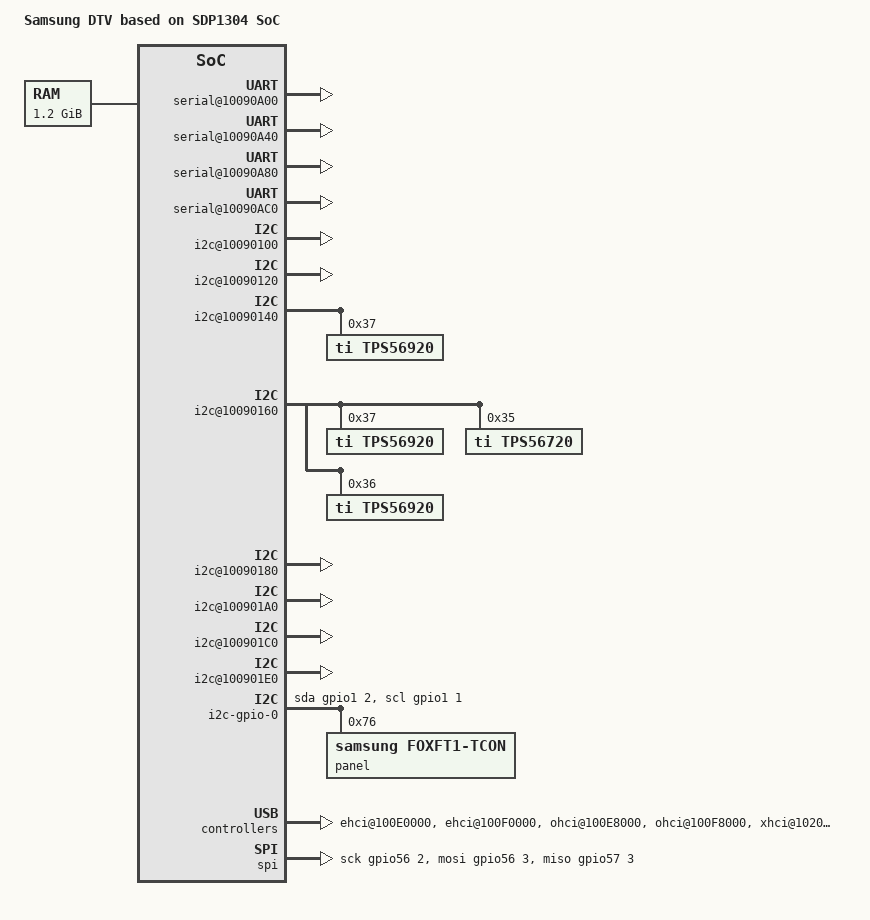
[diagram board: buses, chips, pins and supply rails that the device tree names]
/*
 * Copyright (C) 2013 Samsung Electronics Co.Ltd
 *
 * This program is free software; you can redistribute it and/or modify
 * it under the terms of the GNU General Public License version 2 as
 * published by the Free Software Foundation.
 */

/dts-v1/;
/include/ "sdp1304.dtsi"

/ {
	model = "Samsung DTV based on SDP1304 SoC";
	compatible = "samsung,dtv", "samsung,sdp1304", "samsung,golf-us";

	memory {
		reg =  <0xB3000000 0x4D000000>;
	};

	chosen {
		bootargs = "console=ttyS0,115200N8 root=/dev/mmcblk0p7 rootfstype=squashfs rootwait earlyprintk no_console_suspend SELP_ENABLE=20102011 vmalloc=600M sdp_sparsemem";
	};

	fixed-rate-clocks {
		fin {
			compatible = "samsung,sdp-clock-fin";
			clock-frequency = <24000000>;
		};
	};

	/* for dma330 */
	golf-us {
		status = "okay";
		amba {
			dma330@1C660000 {
				status = "okay";
			};
		};
	};

	ethernet@100D0000 {
		phy_sel_reg = <0x10088000 0x1 0x0>;		/* select RGMII for eval board*/
	};

	mmc {
        tuning_sam =    <0x10B0092C 0x000007FF 0x00000100>, <0x10B00930 0x000001E0 0x00000000>,
                        <0x10B0092C 0x000007FF 0x00000100>, <0x10B00930 0x000001E0 0x000001E0>,
                        <0x10B0092C 0x000007FF 0x00000101>, <0x10B00930 0x000001E0 0x00000000>,
                        <0x10B0092C 0x000007FF 0x00000101>, <0x10B00930 0x000001E0 0x000001E0>,
                        <0x10B0092C 0x000007FF 0x00000102>, <0x10B00930 0x000001E0 0x00000000>,
                        <0x10B0092C 0x000007FF 0x00000102>, <0x10B00930 0x000001E0 0x000001E0>,
                        <0x10B0092C 0x000007FF 0x00000103>, <0x10B00930 0x000001E0 0x00000000>,
                        <0x10B0092C 0x000007FF 0x00000103>, <0x10B00930 0x000001E0 0x000001E0>,
                        <0x10B0092C 0x000007FF 0x00000200>, <0x10B00930 0x000001E0 0x00000000>,
                        <0x10B0092C 0x000007FF 0x00000200>, <0x10B00930 0x000001E0 0x000001E0>,
                        <0x10B0092C 0x000007FF 0x00000204>, <0x10B00930 0x000001E0 0x00000000>,
                        <0x10B0092C 0x000007FF 0x00000204>, <0x10B00930 0x000001E0 0x000001E0>,
                        <0x10B0092C 0x000007FF 0x00000208>, <0x10B00930 0x000001E0 0x00000000>,
                        <0x10B0092C 0x000007FF 0x00000208>, <0x10B00930 0x000001E0 0x000001E0>,
                        <0x10B0092C 0x000007FF 0x0000020C>, <0x10B00930 0x000001E0 0x00000000>,
                        <0x10B0092C 0x000007FF 0x0000020C>, <0x10B00930 0x000001E0 0x000001E0>,
                        <0x10B0092C 0x000007FF 0x00000300>, <0x10B00930 0x000001E0 0x00000000>,
                        <0x10B0092C 0x000007FF 0x00000300>, <0x10B00930 0x000001E0 0x000001E0>,
                        <0x10B0092C 0x000007FF 0x00000310>, <0x10B00930 0x000001E0 0x00000000>,
                        <0x10B0092C 0x000007FF 0x00000310>, <0x10B00930 0x000001E0 0x000001E0>;

        tuning_sam_hs200_default = <0x10B0092C 0x000007FF 0x00000100>, <0x10B00930 0x000001E0 0x00000000>;/* HS200 sampling defalut */
        tuning_drv_hs200_default = <0x10B0092C 0x07FF0000 0x01010000>, <0x10B00930 0x0000000F 0x0000000F>;/* HS200 driving defalut */

		fixup-golfp-ud-tuning-fixed;

		hs200;/* enable HS200 */
		hs200-tuning;
	};

	serial@10090A00 {
		status = "okay";
	};

	serial@10090A40 {
		status = "okay";
	};

	serial@10090A80 {
		status = "okay";
	};

	serial@10090AC0 {
		status = "okay";
	}; 

	pinctrl{
		compatible = "samsung,sdp-pinctrl";
		reg = <0x10B00C00 0x24c>,
			<0x18090C00 0x260>,
			 <0x1a090C00 0x260>,
			 <0x1D590C00 0x210>;
			 
		start-offset = <0x98 0x16c 0x16c 0x1a4>;
		nr-banks = <15 20 20 6>;	
		model-sel = <1 1 0 1>;	
	};

	i2c@10090100 {
		status = "okay";
		samsung,i2c-sda-delay = <1>;
		samsung,i2c-max-bus-freq = <400000>;
		samsung,i2c-irq-status-reg = <0x100901F4>;
		samsung,i2c-cpu-affinity = <3>;
	};

	i2c@10090120 {
		status = "okay";
		samsung,i2c-sda-delay = <1>;
		samsung,i2c-max-bus-freq = <400000>;
		samsung,i2c-irq-status-reg = <0x100901F4>;
		samsung,i2c-cpu-affinity = <3>;
	};

	i2c@10090140 { 
		status = "okay";
		samsung,i2c-sda-delay = <1>;
		samsung,i2c-max-bus-freq = <400000>;
		samsung,i2c-irq-status-reg = <0x100901F4>;
		samsung,i2c-cpu-affinity = <3>;

		tps56920@37 {
			compatible = "ti,tps56920";
			reg = <0x37>;

			regulator-name = "CPU_PW";
			regulator-min-microvolt = <600000>;
			regulator-max-microvolt = <1870000>;
			regulator-always-on;
			regulator-boot-on;

			default_volt = <1280000>;
		};
	};

	i2c@10090160 {
		status = "okay";
		samsung,i2c-sda-delay = <1>;
		samsung,i2c-max-bus-freq = <400000>;
		samsung,i2c-irq-status-reg = <0x100901F4>;
		samsung,i2c-cpu-affinity = <3>;

		tps56920@37 {
			compatible = "ti,tps56920";
			reg = <0x37>;

			regulator-name = "GPU_PW";
			regulator-min-microvolt = <600000>;
			regulator-max-microvolt = <1870000>;
			regulator-always-on;
			regulator-boot-on;
			
			default_volt = <1100000>;
		};
		
		tps56720@35 {
			compatible = "ti,tps56720";
			reg = <0x35>;

			regulator-name = "MP0_PW";
			regulator-min-microvolt = <600000>;
			regulator-max-microvolt = <1870000>;
			regulator-always-on;
			regulator-boot-on;

			default_volt = <1200000>;
		};

		tps56920@36 {
			compatible = "ti,tps56920";
			reg = <0x36>;

			regulator-name = "US_PW";
			regulator-min-microvolt = <600000>;
			regulator-max-microvolt = <1870000>;
			regulator-always-on;
			regulator-boot-on;

			default_volt = <1180000>;
		};
	};

	i2c@10090180 {
		status = "okay";
		samsung,i2c-sda-delay = <1>;
		samsung,i2c-max-bus-freq = <400000>;
		samsung,i2c-irq-status-reg = <0x100901F4>;
		samsung,i2c-cpu-affinity = <3>;
	};

	i2c@100901A0 {
		status = "okay";
		samsung,i2c-sda-delay = <1>;
		samsung,i2c-max-bus-freq = <400000>;
		samsung,i2c-irq-status-reg = <0x100901F4>;
		samsung,i2c-cpu-affinity = <3>;
	};

	i2c@100901C0 {
		status = "okay";
		samsung,i2c-sda-delay = <1>;
		samsung,i2c-max-bus-freq = <400000>;
		samsung,i2c-irq-status-reg = <0x100901F4>;
		samsung,i2c-pad-enable = <0x10B00C40 0x8000>;
		samsung,i2c-cpu-affinity = <3>;
	};

	i2c@100901E0 {
		status = "okay";
		samsung,i2c-sda-delay = <1>;
		samsung,i2c-max-bus-freq = <400000>;
		samsung,i2c-irq-status-reg = <0x100901F4>;
		samsung,i2c-pad-enable = <0x10B00C40 0x10000>;
		samsung,i2c-cpu-affinity = <3>;

	};

	i2c-gpio-0 {
		compatible = "i2c-gpio";
		gpios = <&gpio1 2 0>, <&gpio1 1 0>;
		#address-cells = <1>;
		#size-cells = <0>;

		panel@76 {
			compatible = "samsung,foxft1-tcon";
			reg = <0x76>;
		};
	};

	dummy_panel {
		compatible = "dummy_panel";

		display-timings {
			native-mode = <&timing0>;

			timing0: timing-0 {
				 clock-frequency = <0>;
				 hactive = <1920>;
				 vactive = <1080>;
				 hfront-porch = <0>;
				 hback-porch = <0>;
				 hsync-len = <0>;
				 vfront-porch = <0>;
				 vback-porch = <0>;
				 vsync-len = <0>;
			};
		};
	};

	ehci@100E0000 {
		status = "okay";
		samsung,retry-negotiation;
		samsung,force-reset-on-ls;
/*		
		samsung,sw-reset = <0x10B00000 0x954 0x1>;
		samsung,ehci-gpr_reg = <0x100FC000 0x00 0xE05A>;
		samsung,ehci-gpr_reg1 = <0x100FC000 0x04 0x5000>;
		samsung,sw-reset-release = <0x10B00000 0x954 0x1>;
*/
	};

	ehci@100F0000 {
		status = "okay";
		samsung,retry-negotiation;
/*
		samsung,sw-reset = <0x10B00000 0x954 0x2>;
		samsung,ehci-gpr_reg = <0x100FC000 0x14 0xE05A>;
		samsung,ehci-gpr_reg1 = <0x100FC000 0x18 0x5000>;
		samsung,sw-reset-release = <0x10B00000 0x954 0x2>;
*/
	};

	ohci@100E8000 {
		status = "okay";
	};

	ohci@100F8000 {
		status = "okay";
	};

	xhci@10200000 {
		status = "okay";
	};

	tmu@10B00C6C {
		status = "okay";
		
		sensor_id = <0>;

		start_zero_throttle	= <40>;
		stop_zero_throttle	= <45>;
		stop_1st_throttle	= <102>;
		start_1st_throttle	= <110>;
		stop_2nd_throttle	= <112>;
		start_2nd_throttle	= <118>;
		stop_3rd_throttle	= <120>;
		start_3rd_throttle	= <125>;
		start_3rd_hotplug	= <130>;

		cpu_limit_1st_throttle	= <1000000>;
		cpu_limit_2nd_throttle	= <600000>;
		cpu_limit_3rd_throttle	= <100000>;

		gpu_limit_1st_throttle	= <200000>;
		gpu_limit_2nd_throttle	= <200000>;
		gpu_limit_3rd_throttle	= <50000>;

		log_file_path = "/mtd_rwarea/ThermalThrottle.txt";
	};
	
	dwc3@0x10100000 {
		status = "okay";
		dwc3_mode = "host";
	};
	
	extint@0x1D591000 {
		status = "okay";
	};

	spi {
		compatible = "spi-gpio";
		status = "okay";
		cs-gpios  = <&gpio56  1 0>;
		gpio-sck  = <&gpio56  2 0>;
		gpio-mosi = <&gpio56  3 0>;
		gpio-miso = <&gpio57  3 0>;
		num-chipselects = <1>;
		#address-cells = <1>;
		#size-cells = <0>;

		/include/ "w25q128.dtsi"
    };

};
